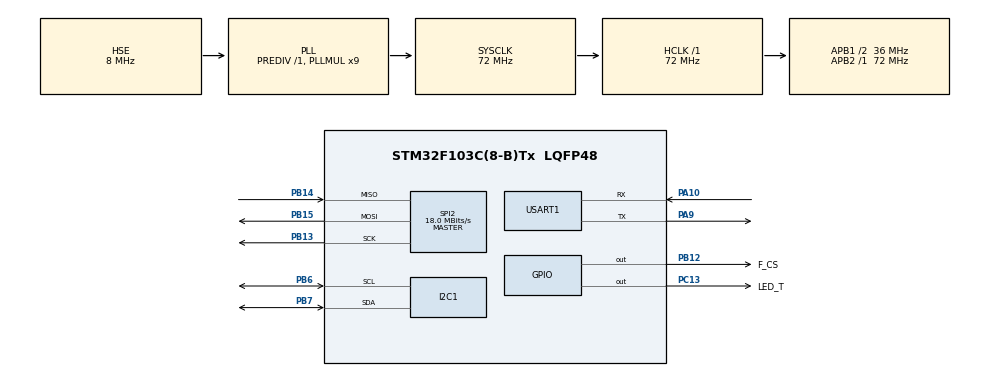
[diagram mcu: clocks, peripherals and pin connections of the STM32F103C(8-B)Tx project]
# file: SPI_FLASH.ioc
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I2C1.DutyCycle=I2C_DUTYCYCLE_16_9
I2C1.I2C_Mode=I2C_Fast
Mcu.Family=STM32F1
Mcu.Name=STM32F103C(8-B)Tx
Mcu.Package=LQFP48
NVIC.PriorityGroup=NVIC_PRIORITYGROUP_4
PA10.Mode=Asynchronous
PA10.Signal=USART1_RX
PA13.Mode=Serial_Wire
PA13.Signal=SYS_JTMS-SWDIO
PA14.Mode=Serial_Wire
PA14.Signal=SYS_JTCK-SWCLK
PA9.Mode=Asynchronous
PA9.Signal=USART1_TX
PB12.GPIO_Label=F_CS
PB12.GPIO_PuPd=GPIO_PULLUP
PB12.Signal=GPIO_Output
PB13.Mode=Full_Duplex_Master
PB13.Signal=SPI2_SCK
PB14.Mode=Full_Duplex_Master
PB14.Signal=SPI2_MISO
PB15.Mode=Full_Duplex_Master
PB15.Signal=SPI2_MOSI
PB6.Mode=I2C
PB6.Signal=I2C1_SCL
PB7.Mode=I2C
PB7.Signal=I2C1_SDA
PC13-TAMPER-RTC.GPIO_Label=LED_T
PC13-TAMPER-RTC.Signal=GPIO_Output
PD0-OSC_IN.Mode=HSE-External-Oscillator
PD0-OSC_IN.Signal=RCC_OSC_IN
PD1-OSC_OUT.Mode=HSE-External-Oscillator
PD1-OSC_OUT.Signal=RCC_OSC_OUT
ProjectManager.HeapSize=0x200
ProjectManager.StackSize=0x400
ProjectManager.TargetToolchain=MDK-ARM V5.32
RCC.AHBFreq_Value=72000000
RCC.APB1CLKDivider=RCC_HCLK_DIV2
RCC.APB1Freq_Value=36000000
RCC.APB1TimFreq_Value=72000000
RCC.APB2Freq_Value=72000000
RCC.APB2TimFreq_Value=72000000
RCC.HCLKFreq_Value=72000000
RCC.PLLMUL=RCC_PLL_MUL9
RCC.PLLSourceVirtual=RCC_PLLSOURCE_HSE
RCC.SYSCLKFreq_VALUE=72000000
RCC.SYSCLKSource=RCC_SYSCLKSOURCE_PLLCLK
RCC.USBFreq_Value=72000000
SPI2.BaudRatePrescaler=SPI_BAUDRATEPRESCALER_2
SPI2.CalculateBaudRate=18.0 MBits/s
SPI2.Direction=SPI_DIRECTION_2LINES
SPI2.Mode=SPI_MODE_MASTER
SPI2.VirtualType=VM_MASTER
USART1.VirtualMode=VM_ASYNC
board=custom

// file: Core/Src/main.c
/* USER CODE BEGIN Header */
/**
 ******************************************************************************
 * @file           : main.c
 * @brief          : Main program body
 ******************************************************************************
 * @attention
 *
 * Copyright (c) 2023 STMicroelectronics.
 * All rights reserved.
 *
 * This software is licensed under terms that can be found in the LICENSE file
 * in the root directory of this software component.
 * If no LICENSE file comes with this software, it is provided AS-IS.
 *
 ******************************************************************************
 */
/* USER CODE END Header */
#include "main.h"
#include "i2c.h"
#include "spi.h"
#include "usart.h"
#include "gpio.h"

/* USER CODE BEGIN Includes */
#include "stdio.h"
#include "stdlib.h"
#include "string.h"
#include "OLED.h"
#include "W25Q128.h"
/* USER CODE END Includes */

/* USER CODE BEGIN PV */
uint8_t W25_buf[64] = {0};
/* USER CODE END PV */

void SystemClock_Config(void);

int main(void)
{

    /* MCU Configuration--------------------------------------------------------*/

    /* Reset of all peripherals, Initializes the Flash interface and the Systick. */
    HAL_Init();

    /* Configure the system clock */
    SystemClock_Config();

    /* Initialize all configured peripherals */
    MX_GPIO_Init();
    MX_SPI2_Init();
    MX_USART1_UART_Init();
    MX_I2C1_Init();
    /* USER CODE BEGIN 2 */
    OLED_Init();
    OLED_ShowString(1, 1, "OLED ini finish!");
    while (W25QXX_Init() == RESET)
        ;
    W25QXX_Erase_Sector(NumBlockOfChip * NumSectorOfBlock - 1); // 擦除所用到的扇区
    OLED_ShowString(2, 1, "FLASH finish!");
    sprintf((char *)W25_buf, "ID: %d", W25QXX_ReadID());
    W25QXX_Write_NoCheck(W25_buf, FLASH_SIZE - NumByteOfPage * 1 - 1, sizeof(W25_buf));
    OLED_ShowString(3, 1, (char *)W25_buf);

    OLED_Clear();
    HAL_Delay(1000);
    memset((char *)W25_buf, 0, sizeof(W25_buf));
    W25QXX_Read(W25_buf, FLASH_SIZE - NumByteOfPage * 1 - 1, 64);
    OLED_ShowString(3, 1, (char *)W25_buf);

    /* USER CODE END 2 */

    /* Infinite loop */
    while (1)
    {
        /* USER CODE BEGIN 3 */
        HAL_GPIO_TogglePin(LED_T_GPIO_Port, LED_T_Pin);
        HAL_Delay(500);
    }
    /* USER CODE END 3 */
}

void SystemClock_Config(void)
{
    RCC_OscInitTypeDef RCC_OscInitStruct = {0};
    RCC_ClkInitTypeDef RCC_ClkInitStruct = {0};

    /** Initializes the RCC Oscillators according to the specified parameters
     * in the RCC_OscInitTypeDef structure.
     */
    RCC_OscInitStruct.OscillatorType = RCC_OSCILLATORTYPE_HSE;
    RCC_OscInitStruct.HSEState = RCC_HSE_ON;
    RCC_OscInitStruct.HSEPredivValue = RCC_HSE_PREDIV_DIV1;
    RCC_OscInitStruct.HSIState = RCC_HSI_ON;
    RCC_OscInitStruct.PLL.PLLState = RCC_PLL_ON;
    RCC_OscInitStruct.PLL.PLLSource = RCC_PLLSOURCE_HSE;
    RCC_OscInitStruct.PLL.PLLMUL = RCC_PLL_MUL9;
    if (HAL_RCC_OscConfig(&RCC_OscInitStruct) != HAL_OK)
    {
        Error_Handler();
    }

    /** Initializes the CPU, AHB and APB buses clocks
     */
    RCC_ClkInitStruct.ClockType = RCC_CLOCKTYPE_HCLK | RCC_CLOCKTYPE_SYSCLK | RCC_CLOCKTYPE_PCLK1 | RCC_CLOCKTYPE_PCLK2;
    RCC_ClkInitStruct.SYSCLKSource = RCC_SYSCLKSOURCE_PLLCLK;
    RCC_ClkInitStruct.AHBCLKDivider = RCC_SYSCLK_DIV1;
    RCC_ClkInitStruct.APB1CLKDivider = RCC_HCLK_DIV2;
    RCC_ClkInitStruct.APB2CLKDivider = RCC_HCLK_DIV1;

    if (HAL_RCC_ClockConfig(&RCC_ClkInitStruct, FLASH_LATENCY_2) != HAL_OK)
    {
        Error_Handler();
    }
}

void Error_Handler(void)
{
    __disable_irq();
    while (1)
    {
    }
}
